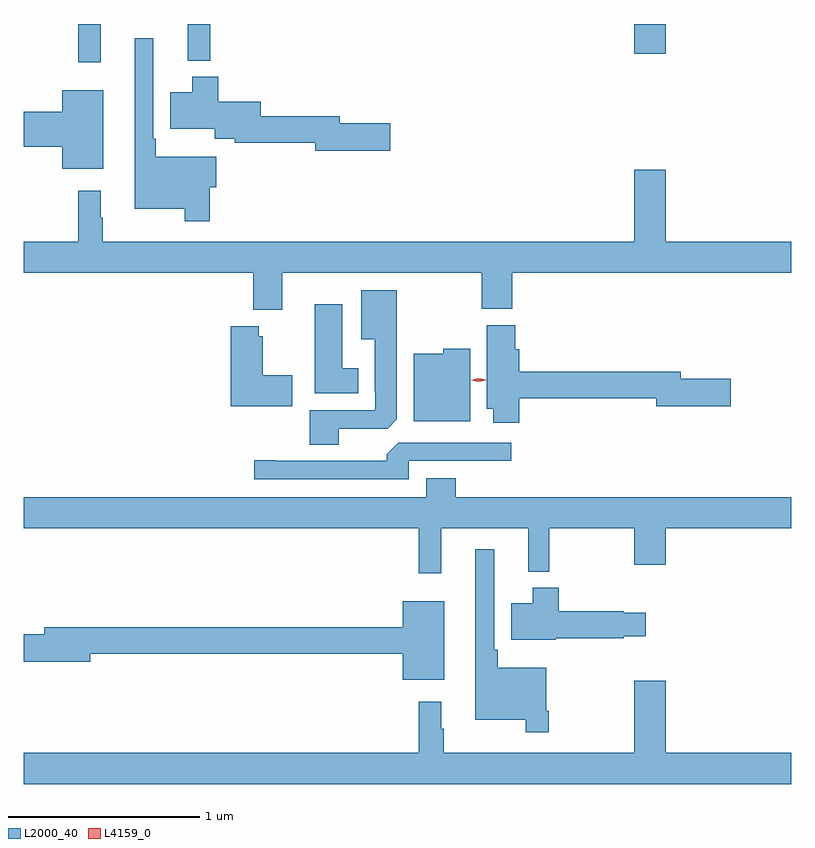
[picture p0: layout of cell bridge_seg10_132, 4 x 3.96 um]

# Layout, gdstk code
import gdstk
lib = gdstk.Library(unit=1e-6, precision=1e-09)
def R(c, l, rs):  # rectangles x0, y0, x1, y1
    for r in rs: c.add(gdstk.rectangle(r[:2], r[2:], *l))
def P(c, l, *ps):  # polygons
    for p in ps: c.add(gdstk.Polygon(p, *l))
L2000_40 = (2000, 40)
L4159_0 = (4159, 0)

bridge_seg10_132 = lib.new_cell('bridge_seg10_132')
R(bridge_seg10_132, L2000_40, [(353.917,1258.791,354.035,1258.99), (354.488,1258.799,354.605,1258.99), (356.816,1258.836,356.98,1258.99)])
P(bridge_seg10_132, L2000_40, [(354.602,1258.139),(354.637,1258.139),(354.637,1258.297),(354.322,1258.297),(354.322,1258.393),(354.309,1258.393),(354.309,1258.915),(354.212,1258.915),(354.212,1258.028),(354.474,1258.028),(354.474,1257.963),(354.602,1257.963)],
  [(355.543,1258.472),(355.282,1258.472),(355.282,1258.508),(354.868,1258.508),(354.868,1258.585),(354.647,1258.585),(354.647,1258.714),(354.512,1258.714),(354.512,1258.633),(354.398,1258.633),(354.398,1258.445),(354.629,1258.445),(354.629,1258.391),(354.733,1258.391),(354.733,1258.372),(355.154,1258.372),(355.154,1258.33),(355.543,1258.33)],
  [(354.049,1258.645),(353.834,1258.645),(353.834,1258.532),(353.634,1258.532),(353.634,1258.349),(353.834,1258.349),(353.834,1258.235),(354.049,1258.235)],
  [(354.982,1257.692),(356.02,1257.692),(356.02,1257.505),(356.18,1257.505),(356.18,1257.692),(357.634,1257.692),(357.634,1257.856),(356.98,1257.856),(356.98,1258.231),(356.816,1258.231),(356.816,1257.856),(354.046,1257.856),(354.046,1257.98),(354.034,1257.98),(354.034,1258.12),(353.917,1258.12),(353.917,1257.856),(353.634,1257.856),(353.634,1257.692),(354.83,1257.692),(354.83,1257.5),(354.982,1257.5)],
  [(355.276,1256.88),(355.53,1256.88),(355.579,1256.929),(355.579,1257.601),(355.394,1257.601),(355.394,1257.347),(355.463,1257.347),(355.463,1257.073),(355.467,1257.073),(355.467,1256.976),(355.124,1256.976),(355.124,1256.797),(355.276,1256.797)],
  [(355.378,1257.196),(355.294,1257.196),(355.294,1257.529),(355.151,1257.529),(355.151,1257.065),(355.378,1257.065)],
  [(356.216,1257.04),(356.93,1257.04),(356.93,1256.998),(357.319,1256.998),(357.319,1257.14),(357.058,1257.14),(357.058,1257.176),(356.216,1257.176),(356.216,1257.294),(356.195,1257.294),(356.195,1257.42),(356.048,1257.42),(356.048,1256.984),(356.081,1256.984),(356.081,1256.91),(356.216,1256.91)],
  [(355.033,1257.159),(354.88,1257.159),(354.88,1257.361),(354.858,1257.361),(354.858,1257.415),(354.713,1257.415),(354.713,1256.996),(355.033,1256.996)],
  [(355.96,1257.298),(355.821,1257.298),(355.821,1257.271),(355.667,1257.271),(355.667,1256.918),(355.96,1256.918)],
  [(355.641,1256.712),(356.176,1256.712),(356.176,1256.808),(355.587,1256.808),(355.526,1256.746),(355.526,1256.712),(354.946,1256.712),(354.946,1256.717),(354.834,1256.717),(354.834,1256.616),(355.641,1256.616)],
  [(355.886,1256.623),(355.733,1256.623),(355.733,1256.524),(353.634,1256.524),(353.634,1256.36),(355.693,1256.36),(355.693,1256.127),(355.811,1256.127),(355.811,1256.36),(356.264,1256.36),(356.264,1256.135),(356.374,1256.135),(356.374,1256.36),(356.816,1256.36),(356.816,1256.172),(356.98,1256.172),(356.98,1256.36),(357.634,1256.36),(357.634,1256.524),(355.886,1256.524)],
  [(356.371,1255.411),(356.358,1255.411),(356.358,1255.633),(356.105,1255.633),(356.105,1255.729),(356.085,1255.729),(356.085,1256.251),(355.988,1256.251),(355.988,1255.364),(356.25,1255.364),(356.25,1255.299),(356.371,1255.299)],
  [(356.406,1255.787),(356.762,1255.787),(356.762,1255.799),(356.875,1255.799),(356.875,1255.921),(356.762,1255.921),(356.762,1255.929),(356.423,1255.929),(356.423,1256.05),(356.288,1256.05),(356.288,1255.969),(356.174,1255.969),(356.174,1255.781),(356.406,1255.781)],
  [(355.825,1255.981),(355.61,1255.981),(355.61,1255.844),(353.741,1255.844),(353.741,1255.808),(353.634,1255.808),(353.634,1255.666),(353.98,1255.666),(353.98,1255.708),(355.61,1255.708),(355.61,1255.571),(355.825,1255.571)],
  [(355.693,1255.456),(355.693,1255.192),(353.634,1255.192),(353.634,1255.028),(357.634,1255.028),(357.634,1255.192),(356.98,1255.192),(356.98,1255.567),(356.816,1255.567),(356.816,1255.192),(355.822,1255.192),(355.822,1255.316),(355.81,1255.316),(355.81,1255.456)])
P(bridge_seg10_132, L4159_0, [(356.005,1257.124),(355.967,1257.133),(355.967,1257.134),(355.967,1257.134),(356.005,1257.144),(356.042,1257.135),(356.042,1257.134),(356.042,1257.134)])

lib.write_gds('bridge_seg10_132.gds')
